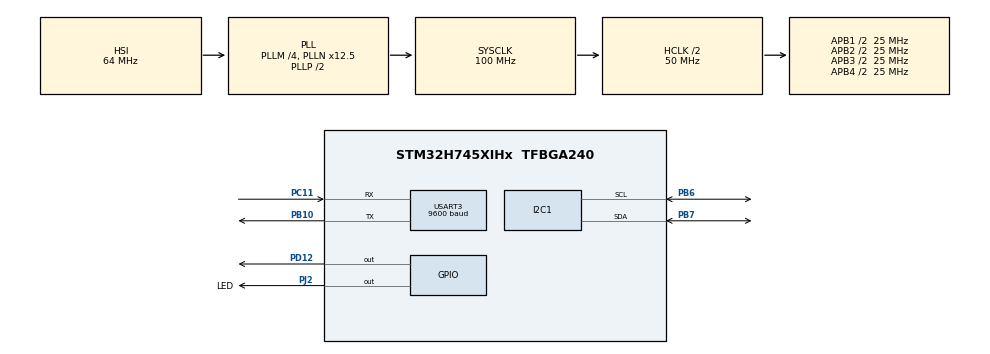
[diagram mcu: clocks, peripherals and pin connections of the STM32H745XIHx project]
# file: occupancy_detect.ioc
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CORTEX_M7.CPU_DCache=Enabled
CORTEX_M7.CPU_ICache=Enabled
CortexM4.IPs=FATFS_M4\:I,FREERTOS_M4\:I,IWDG2\:I,RCC,USB_DEVICE_M4\:I,USB_HOST_M4\:I,WWDG2\:I,DMA,BDMA,MDMA,NVIC2\:I,ETH\:I,FDCAN1\:I,FDCAN2\:I,FMC\:I,QUADSPI\:I,SAI2\:I,SDMMC1\:I,LTDC\:I,USB_OTG_FS\:I,SAI4\:I,DEBUG,PDM2PCM_M4\:I,PWR,RESMGR_UTILITY,SYS_M4\:I,CORTEX_M4\:I,OPENAMP_M4\:I,VREFBUF,GPIO
CortexM7.IPs=FATFS_M7\:I,FREERTOS_M7\:I,IWDG1\:I,RCC\:I,USB_DEVICE_M7\:I,USB_HOST_M7\:I,WWDG1\:I,DMA\:I,BDMA\:I,MDMA\:I,NVIC1\:I,CORTEX_M7\:I,DEBUG\:I,PDM2PCM_M7\:I,PWR\:I,RESMGR_UTILITY\:I,SYS\:I,OPENAMP_M7\:I,VREFBUF\:I,GPIO\:I,RTC\:I,I2C1\:I,USART3\:I,STMicroelectronics.X-CUBE-AI.9.0.0_M7\:I
CortexM7.Pins=PD12,PJ2
I2C1.Speed=50
I2C1.Timing=0x103032C3
Mcu.Family=STM32H7
Mcu.Name=STM32H745XIHx
Mcu.Package=TFBGA240
NVIC1.I2C1_EV_IRQn=true\:0\:0\:false\:false\:true\:true\:true\:true
NVIC1.PriorityGroup=NVIC_PRIORITYGROUP_4
NVIC1.USART3_IRQn=true\:0\:0\:false\:false\:true\:true\:true\:true
NVIC2.PriorityGroup=NVIC_PRIORITYGROUP_4
PB10.Mode=Asynchronous
PB10.PinAttribute=CortexM7
PB10.Signal=USART3_TX
PB6.Mode=I2C
PB6.PinAttribute=CortexM7
PB6.Signal=I2C1_SCL
PB7.Mode=I2C
PB7.PinAttribute=CortexM7
PB7.Signal=I2C1_SDA
PC11.Mode=Asynchronous
PC11.PinAttribute=CortexM7
PC11.Signal=USART3_RX
PC14-OSC32_IN\ (OSC32_IN).Mode=LSE-External-Oscillator
PC14-OSC32_IN\ (OSC32_IN).PinAttribute=Free
PC14-OSC32_IN\ (OSC32_IN).Signal=RCC_OSC32_IN
PC15-OSC32_OUT\ (OSC32_OUT).Mode=LSE-External-Oscillator
PC15-OSC32_OUT\ (OSC32_OUT).PinAttribute=Free
PC15-OSC32_OUT\ (OSC32_OUT).Signal=RCC_OSC32_OUT
PD12.PinAttribute=CortexM7
PD12.Signal=GPIO_Output
PH0-OSC_IN\ (PH0).Mode=HSE-External-Oscillator
PH0-OSC_IN\ (PH0).PinAttribute=Free
PH0-OSC_IN\ (PH0).Signal=RCC_OSC_IN
PH1-OSC_OUT\ (PH1).Mode=HSE-External-Oscillator
PH1-OSC_OUT\ (PH1).PinAttribute=Free
PH1-OSC_OUT\ (PH1).Signal=RCC_OSC_OUT
PJ2.GPIO_Label=LED
PJ2.PinAttribute=CortexM7
PJ2.Signal=GPIO_Output
ProjectManager.HeapSize=M4-0x200,M7-0x800
ProjectManager.StackSize=M4-0x400,M7-0x800
ProjectManager.TargetToolchain=STM32CubeIDE
RCC.ADCFreq_Value=129000000
RCC.APB1Freq_Value=25000000
RCC.APB2Freq_Value=25000000
RCC.APB3Freq_Value=25000000
RCC.APB4Freq_Value=25000000
RCC.CortexFreq_Value=100000000
RCC.D1PPRE=RCC_APB3_DIV2
RCC.D2PPRE1=RCC_APB1_DIV2
RCC.D2PPRE2=RCC_APB2_DIV2
RCC.D3PPRE=RCC_APB4_DIV2
RCC.DIVM1=4
RCC.DIVN1=12
RCC.DIVN3=192
RCC.DIVQ1=4
RCC.DIVR1=4
RCC.HCLKFreq_Value=50000000
RCC.HPRE=RCC_HCLK_DIV2
RCC.PLL2FRACN=0
RCC.PLL3FRACN=0
RCC.PLLFRACN=4096
RCC.PWR_Regulator_Voltage_Scale=PWR_REGULATOR_VOLTAGE_SCALE1
RCC.SYSCLKFreq_VALUE=100000000
RCC.SYSCLKSource=RCC_SYSCLKSOURCE_PLLCLK
RCC.SupplySource=PWR_DIRECT_SMPS_SUPPLY
RCC.USBFreq_Value=50000000
RTC.Date=23
RTC.Hours=13
RTC.Minutes=20
RTC.Month=RTC_MONTH_JULY
RTC.WeekDay=RTC_WEEKDAY_TUESDAY
RTC.Year=24
STMicroelectronics.X-CUBE-AI.9.0.0_M7.ActivationBufferSizeList=2368
STMicroelectronics.X-CUBE-AI.9.0.0_M7.ActivationBuffers=pool0
STMicroelectronics.X-CUBE-AI.9.0.0_M7.ActivationNames=pool0
STMicroelectronics.X-CUBE-AI.9.0.0_M7.ActivationSizes=AI_NETWORK_DATA_ACTIVATION_1_SIZE
STMicroelectronics.X-CUBE-AI.9.0.0_M7.HeapSize=0x800
STMicroelectronics.X-CUBE-AI.9.0.0_M7.InternalRamActivationBufferMaxSize=AI_NETWORK_DATA_ACTIVATIONS_SIZE
STMicroelectronics.X-CUBE-AI.9.0.0_M7.LatestDirectoryUsed-ca83c1b4b409163c8347068a0e6c25f1ef8d8a2a9e32e6388544d91a93ea900b=C\:\\Users\\Guest2\\Documents\\AI\\deploy\\augmented_tera_x4_no_time_boosted
STMicroelectronics.X-CUBE-AI.9.0.0_M7.MaximumNumberOfInputLayer=1
STMicroelectronics.X-CUBE-AI.9.0.0_M7.MaximumNumberOfOutputLayer=1
STMicroelectronics.X-CUBE-AI.9.0.0_M7.MaximumSizeOfInputLayer=1
STMicroelectronics.X-CUBE-AI.9.0.0_M7.MaximumSizeOfOutputLayer=1
STMicroelectronics.X-CUBE-AI.9.0.0_M7.ModelActualCompression-ca83c1b4b409163c8347068a0e6c25f1ef8d8a2a9e32e6388544d91a93ea900b=0.0
STMicroelectronics.X-CUBE-AI.9.0.0_M7.ModelCompression-ca83c1b4b409163c8347068a0e6c25f1ef8d8a2a9e32e6388544d91a93ea900b=None
STMicroelectronics.X-CUBE-AI.9.0.0_M7.ModelFlashOccupation-ca83c1b4b409163c8347068a0e6c25f1ef8d8a2a9e32e6388544d91a93ea900b=22420
STMicroelectronics.X-CUBE-AI.9.0.0_M7.ModelHashList=ca83c1b4b409163c8347068a0e6c25f1ef8d8a2a9e32e6388544d91a93ea900b
STMicroelectronics.X-CUBE-AI.9.0.0_M7.ModelKind-ca83c1b4b409163c8347068a0e6c25f1ef8d8a2a9e32e6388544d91a93ea900b=KERAS
STMicroelectronics.X-CUBE-AI.9.0.0_M7.ModelMacc-ca83c1b4b409163c8347068a0e6c25f1ef8d8a2a9e32e6388544d91a93ea900b=3371
STMicroelectronics.X-CUBE-AI.9.0.0_M7.ModelName-ca83c1b4b409163c8347068a0e6c25f1ef8d8a2a9e32e6388544d91a93ea900b=network
STMicroelectronics.X-CUBE-AI.9.0.0_M7.ModelNameList=network
STMicroelectronics.X-CUBE-AI.9.0.0_M7.ModelRamOccupation-ca83c1b4b409163c8347068a0e6c25f1ef8d8a2a9e32e6388544d91a93ea900b=2368
STMicroelectronics.X-CUBE-AI.9.0.0_M7.ModelStructureFile-ca83c1b4b409163c8347068a0e6c25f1ef8d8a2a9e32e6388544d91a93ea900b=C\:\\Users\\Guest2\\Documents\\AI\\deploy\\augmented_tera_x4_no_time_boosted\\best_augmented_tera_x4_no_time_boosted_model.h5
STMicroelectronics.X-CUBE-AI.9.0.0_M7.ModelType-ca83c1b4b409163c8347068a0e6c25f1ef8d8a2a9e32e6388544d91a93ea900b=STM32Cube.AI MCU runtime
STMicroelectronics.X-CUBE-AI.9.0.0_M7.ReadyForCodeGeneration=true
STMicroelectronics.X-CUBE-AI.9.0.0_M7.StackSize=0x800
STMicroelectronics.X-CUBE-AI.9.0.0_M7.ValidationInputFile-ca83c1b4b409163c8347068a0e6c25f1ef8d8a2a9e32e6388544d91a93ea900b=C\:\\Users\\Guest2\\Documents\\AI\\deploy\\augmented_tera_x4_acceleration_boosted\\test_augmented_tera_x4_acceleration_boosted_input.csv
STMicroelectronics.X-CUBE-AI.9.0.0_M7.ValidationInputFileHistory-ca83c1b4b409163c8347068a0e6c25f1ef8d8a2a9e32e6388544d91a93ea900b=C\:\\Users\\Guest2\\Documents\\AI\\deploy\\augmented_tera\\test_augmented_scaled_tera_input.csv,C\:\\Users\\Guest2\\Documents\\AI\\deploy\\augmented_tera_x4\\test_augmented_x4_scaled_tera_input.csv,C\:\\Users\\Guest2\\Documents\\AI\\deploy\\augmented_tera_x4\\test_augmented_x4_scaled_tera_input.csv,C\:\\Users\\Guest2\\Documents\\AI\\deploy\\augmented_tera_x4_no_time\\test_augmented_x4_scaled_tera_no_time_input.csv,C\:\\Users\\Guest2\\Documents\\AI\\deploy\\augmented_tera_x4_no_time_boosted\\test_augmented_x4_scaled_tera_no_time_input.csv,C\:\\Users\\Guest2\\Documents\\AI\\deploy\\augmented_tera_x4_acceleration_boosted\\test_augmented_tera_x4_acceleration_boosted_input.csv,C\:\\Users\\Guest2\\Documents\\AI\\deploy\\tera_acceleration_boosted\\test_tera_acceleration_boosted_input.csv
STMicroelectronics.X-CUBE-AI.9.0.0_M7.ValidationOutputFile-ca83c1b4b409163c8347068a0e6c25f1ef8d8a2a9e32e6388544d91a93ea900b=C\:\\Users\\Guest2\\Documents\\AI\\deploy\\augmented_tera_x4_acceleration_boosted\\test_augmented_tera_x4_acceleration_boosted_target.csv
STMicroelectronics.X-CUBE-AI.9.0.0_M7.ValidationOutputFileHistory-ca83c1b4b409163c8347068a0e6c25f1ef8d8a2a9e32e6388544d91a93ea900b=C\:\\Users\\Guest2\\Documents\\AI\\deploy\\augmented_tera\\test_augmented_scaled_tera_target.csv,C\:\\Users\\Guest2\\Documents\\AI\\deploy\\augmented_tera_x4\\test_augmented_x4_scaled_tera_target.csv,C\:\\Users\\Guest2\\Documents\\AI\\deploy\\augmented_tera_x4\\test_augmented_x4_scaled_tera_target.csv,C\:\\Users\\Guest2\\Documents\\AI\\deploy\\augmented_tera_x4_no_time\\test_augmented_x4_scaled_tera_no_time_target.csv,C\:\\Users\\Guest2\\Documents\\AI\\deploy\\augmented_tera_x4_no_time_boosted\\test_augmented_x4_scaled_tera_no_time_target.csv,C\:\\Users\\Guest2\\Documents\\AI\\deploy\\augmented_tera_x4_acceleration_boosted\\test_augmented_tera_x4_acceleration_boosted_target.csv,C\:\\Users\\Guest2\\Documents\\AI\\deploy\\tera_acceleration_boosted\\test_tera_acceleration_boosted_target.csv
STMicroelectronics.X-CUBE-AI.9.0.0_M7.WorkingBufferStartAddrList=0xFFFFFFFF
STMicroelectronics.X-CUBE-AI.9.0.0_M7.XAaCUBEAaAICcArtificialOoIntelligenceJjCore=true
STMicroelectronics.X-CUBE-AI.9.0.0_M7.copyWeightToRam=false
STMicroelectronics.X-CUBE-AI.9.0.0_M7.copyWeightToRam-ca83c1b4b409163c8347068a0e6c25f1ef8d8a2a9e32e6388544d91a93ea900b=false
STMicroelectronics.X-CUBE-AI.9.0.0_M7.customLayerConfigEnabled=false
STMicroelectronics.X-CUBE-AI.9.0.0_M7.customLayerConfigEnabled-ca83c1b4b409163c8347068a0e6c25f1ef8d8a2a9e32e6388544d91a93ea900b=false
STMicroelectronics.X-CUBE-AI.9.0.0_M7.noOnnxIoTranspose=false
STMicroelectronics.X-CUBE-AI.9.0.0_M7.noOnnxIoTranspose-ca83c1b4b409163c8347068a0e6c25f1ef8d8a2a9e32e6388544d91a93ea900b=false
STMicroelectronics.X-CUBE-AI.9.0.0_M7.useInputAllocation=true
STMicroelectronics.X-CUBE-AI.9.0.0_M7.useInputAllocation-ca83c1b4b409163c8347068a0e6c25f1ef8d8a2a9e32e6388544d91a93ea900b=true
STMicroelectronics.X-CUBE-AI.9.0.0_M7.useOutputAllocation=true
STMicroelectronics.X-CUBE-AI.9.0.0_M7.useOutputAllocation-ca83c1b4b409163c8347068a0e6c25f1ef8d8a2a9e32e6388544d91a93ea900b=true
USART3.BaudRate=9600
USART3.FIFOMode=FIFOMODE_ENABLE
USART3.Parity=PARITY_NONE
USART3.RXFIFOThreshold=RXFIFO_THRESHOLD_1QUARTERFULL
USART3.VirtualMode-Asynchronous=VM_ASYNC
USART3.WordLength=WORDLENGTH_8B
VP_RTC_VS_RTC_Activate.Mode=RTC_Enabled
VP_RTC_VS_RTC_Calendar.Mode=RTC_Calendar
VP_STMicroelectronics.X-CUBE-AI_M7_VS_ArtificialOoIntelligenceJjXAaCUBEAaAI_9.0.0.Mode=ArtificialOoIntelligenceJjXAaCUBEAaAI
VP_SYS_M4_VS_Systick.Mode=SysTick
board=STM32H745I-DISCO

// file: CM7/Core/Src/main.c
/* USER CODE BEGIN Header */
/**
  ******************************************************************************
  * @file           : main.c
  * @brief          : Main program body
  ******************************************************************************
  * @attention
  *
  * Copyright (c) 2024 STMicroelectronics.
  * All rights reserved.
  *
  * This software is licensed under terms that can be found in the LICENSE file
  * in the root directory of this software component.
  * If no LICENSE file comes with this software, it is provided AS-IS.
  *
  ******************************************************************************
  */
/* USER CODE END Header */
#include "main.h"

/* USER CODE BEGIN Includes */
#include "network.h"
#include "network_data.h"
/* USER CODE END Includes */

/* USER CODE BEGIN PD */

#ifndef HSEM_ID_0
#define HSEM_ID_0 (0U) /* HW semaphore 0*/
#endif

#define INTERVAL_IN_SECONDS 10 	//measurements interval
#define FLOOR_AREA 10 			//floor area of measured room
#define ROOM_NUMBER 0
#define OCCUPANCY 0
#define DISPLAY_LENGTH 190
#define WINDOW_SIZE 4

/* uncomment if you want to generate your own fake data as input */
//#define FAKE_DATA
/* uncomment if you are using time features in your model */
//#define TIME_FEATURES
/* uncomment if you are using acceleration features in your model */
//#define ACCELERATION_FEATURES

/* USER CODE END PD */

I2C_HandleTypeDef hi2c1;

RTC_HandleTypeDef hrtc;

UART_HandleTypeDef huart3;

/* USER CODE BEGIN PV */
SensorData data = {0};

const char SCD30_INIT[] = "\r\n***  SCD30 Initialized ***\r\n";
const char READY_TIMEOUT[] = "\r\nTimeout waiting for data_ready flag\r\n";
const char MEASURE_ERROR[] = "\r\nerror reading measurement\r\n";
const char OFFICE[] = "Please type the office number: ";
const char OCCUPANTS[] = "Please type the number of occupants\r\n";
const char UART_ERROR[] = "UART failure\r\n";
const char UART_OK[] = "\r\nUART_OKAY\r\n";
//const char COLUMNS[] = "\r\ndatetime,temperature,humidity,co2_concentration,average_co2_last_hour,average_temperature_last_hour,average_humidity_last_hour,current_value_minus_average_last_hour_co2,current_value_minus_average_last_hour_temperature,current_value_minus_average_last_hour_humidity,current_value_minus_last_15_min_co2,current_value_minus_last_15_min_temperature,current_value_minus_last_15_min_humidity,acceleration_co2,acceleration_temperature,acceleration_humidity,occupancy";
const char COLUMNS[] = "\r\ndatetime	  	   CO2		    Temperature  		Humidity";
const char AI_INIT[] = "\r\n***** AI Initialized *****\r\n";

uint8_t RxBuffer[4];
/* Global handle to reference the instantiated C-model */
static ai_handle network = AI_HANDLE_NULL;

/* Global c-array to handle the activations buffer */
AI_ALIGNED(32)
static ai_u8 activations[AI_NETWORK_DATA_ACTIVATIONS_SIZE];

/* Array to store the data of the input tensor */
AI_ALIGNED(32)
static ai_float in_data[AI_NETWORK_IN_1_SIZE];
/* or static ai_u8 in_data[AI_NETWORK_IN_1_SIZE_BYTES]; */

/* c-array to store the data of the output tensor */
AI_ALIGNED(32)
static ai_float out_data[AI_NETWORK_OUT_1_SIZE];
/* static ai_u8 out_data[AI_NETWORK_OUT_1_SIZE_BYTES]; */

/* Array of pointer to manage the model's input/output tensors */
static ai_buffer *ai_input;
static ai_buffer *ai_output;
/* USER CODE END PV */

void SystemClock_Config(void);
static void MX_GPIO_Init(void);
static void MX_I2C1_Init(void);
static void MX_RTC_Init(void);
static void MX_USART3_UART_Init(void);
/* USER CODE BEGIN PFP */
#define PUTCHAR_PROTOTYPE int __io_putchar(int ch)

/* USER CODE END PFP */

int main(void)
{

  /* USER CODE BEGIN 1 */
	char buf[50];
	int buf_len = 0;
  /* USER CODE END 1 */
/* USER CODE BEGIN Boot_Mode_Sequence_0 */
	int32_t timeout;
/* USER CODE END Boot_Mode_Sequence_0 */

  /* Enable the CPU Cache */

  /* Enable I-Cache---------------------------------------------------------*/
  SCB_EnableICache();

  /* Enable D-Cache---------------------------------------------------------*/
  SCB_EnableDCache();

/* USER CODE BEGIN Boot_Mode_Sequence_1 */
  /* Wait until CPU2 boots and enters in stop mode or timeout*/
  /*timeout = 0xFFFF;
  while((__HAL_RCC_GET_FLAG(RCC_FLAG_D2CKRDY) != RESET) && (timeout-- > 0));
  if ( timeout < 0 )
  {
	  Error_Handler();
  }*/
/* USER CODE END Boot_Mode_Sequence_1 */
  /* MCU Configuration--------------------------------------------------------*/

  /* Reset of all peripherals, Initializes the Flash interface and the Systick. */
  HAL_Init();

  /* USER CODE BEGIN Init */

  // Enable global interrupts
	__enable_irq();
  /* USER CODE END Init */

  /* Configure the system clock */
  SystemClock_Config();
/* USER CODE BEGIN Boot_Mode_Sequence_2 */
/* When system initialization is finished, Cortex-M7 will release Cortex-M4 by means of
HSEM notification */
/*HW semaphore Clock enable*/
	__HAL_RCC_HSEM_CLK_ENABLE();
/*Take HSEM */
	HAL_HSEM_FastTake(HSEM_ID_0);
/*Release HSEM in order to notify the CPU2(CM4)*/
	HAL_HSEM_Release(HSEM_ID_0,0);
/* wait until CPU2 wakes up from stop mode */
	timeout = 0xFFFF;
	while((__HAL_RCC_GET_FLAG(RCC_FLAG_D2CKRDY) == RESET) && (timeout-- > 0));
	if ( timeout < 0 )
	{
		Error_Handler();
	}
/* USER CODE END Boot_Mode_Sequence_2 */

  /* Initialize all configured peripherals */
  MX_GPIO_Init();
  MX_I2C1_Init();
  MX_RTC_Init();
  MX_USART3_UART_Init();
  /* USER CODE BEGIN 2 */

	// Initialize the Neural Network
	AI_Init();

	initialize_sensor_data(&data);

	char occupancy[5];
	float prediction;
	float decision_boundary = 0.5;// DECISION_BOUNDARY;
	int16_t err;
	uint8_t first_line = 1;

	Sensor_Init(&hi2c1, INTERVAL_IN_SECONDS, 20000u);

  /* USER CODE END 2 */

  /* Infinite loop */
	while (1)
	{

    /* USER CODE BEGIN 3 */
		uint16_t data_ready = is_data_ready(&hi2c1, &huart3, INTERVAL_IN_SECONDS);
		if (!data_ready) {
    	  /* Timeout waiting for data_ready flag */
			printf(READY_TIMEOUT);
			continue;
		}
		/* read measurements */
		err = populateSensorData(&data, &hi2c1, &hrtc);

		if (err != NO_ERROR) {
		  /* error reading measurement */
			printf(MEASURE_ERROR);
		} else {
			if (first_line) {
				// Print columns (measured features)
				printf(COLUMNS);
				// Set the flag to indicate it's not the first line
				//first_line = 0;
			}
			print_values(&data);
		}

#ifdef FAKE_DATA
		AI_FAKE_fill_input_buffer(&data, in_data);

#else
		AI_fill_input_buffer(&data, in_data);
#endif
		// Run inference
		HAL_GPIO_TogglePin(GPIOD, GPIO_PIN_12);
		AI_Run(in_data, out_data);
		HAL_GPIO_TogglePin(GPIOD, GPIO_PIN_12); // To measure inference time

		// Read prediction of neural network
		prediction = ((float *)out_data)[0];
		if (prediction > decision_boundary) {
			sprintf(occupancy, "yes");
		} else {
			sprintf(occupancy, "no ");
		}
		// Print output of neural network
		buf_len = sprintf(buf, "\r\nOccupancy? %s \r\n\r\nCertitude: %.1f%%\r\n\r\n\r\n",occupancy, prediction*100);
		HAL_UART_Transmit(&huart3, (uint8_t *)buf, buf_len, 100);

  }
  /* USER CODE END 3 */
}

void SystemClock_Config(void)
{
  RCC_OscInitTypeDef RCC_OscInitStruct = {0};
  RCC_ClkInitTypeDef RCC_ClkInitStruct = {0};

  /** Supply configuration update enable
  */
  HAL_PWREx_ConfigSupply(PWR_DIRECT_SMPS_SUPPLY);

  /** Configure the main internal regulator output voltage
  */
  __HAL_PWR_VOLTAGESCALING_CONFIG(PWR_REGULATOR_VOLTAGE_SCALE1);

  while(!__HAL_PWR_GET_FLAG(PWR_FLAG_VOSRDY)) {}

  /** Initializes the RCC Oscillators according to the specified parameters
  * in the RCC_OscInitTypeDef structure.
  */
  RCC_OscInitStruct.OscillatorType = RCC_OSCILLATORTYPE_HSI|RCC_OSCILLATORTYPE_LSI;
  RCC_OscInitStruct.HSIState = RCC_HSI_DIV1;
  RCC_OscInitStruct.HSICalibrationValue = RCC_HSICALIBRATION_DEFAULT;
  RCC_OscInitStruct.LSIState = RCC_LSI_ON;
  RCC_OscInitStruct.PLL.PLLState = RCC_PLL_ON;
  RCC_OscInitStruct.PLL.PLLSource = RCC_PLLSOURCE_HSI;
  RCC_OscInitStruct.PLL.PLLM = 4;
  RCC_OscInitStruct.PLL.PLLN = 12;
  RCC_OscInitStruct.PLL.PLLP = 2;
  RCC_OscInitStruct.PLL.PLLQ = 4;
  RCC_OscInitStruct.PLL.PLLR = 4;
  RCC_OscInitStruct.PLL.PLLRGE = RCC_PLL1VCIRANGE_3;
  RCC_OscInitStruct.PLL.PLLVCOSEL = RCC_PLL1VCOWIDE;
  RCC_OscInitStruct.PLL.PLLFRACN = 4096;
  if (HAL_RCC_OscConfig(&RCC_OscInitStruct) != HAL_OK)
  {
    Error_Handler();
  }

  /** Initializes the CPU, AHB and APB buses clocks
  */
  RCC_ClkInitStruct.ClockType = RCC_CLOCKTYPE_HCLK|RCC_CLOCKTYPE_SYSCLK
                              |RCC_CLOCKTYPE_PCLK1|RCC_CLOCKTYPE_PCLK2
                              |RCC_CLOCKTYPE_D3PCLK1|RCC_CLOCKTYPE_D1PCLK1;
  RCC_ClkInitStruct.SYSCLKSource = RCC_SYSCLKSOURCE_PLLCLK;
  RCC_ClkInitStruct.SYSCLKDivider = RCC_SYSCLK_DIV1;
  RCC_ClkInitStruct.AHBCLKDivider = RCC_HCLK_DIV2;
  RCC_ClkInitStruct.APB3CLKDivider = RCC_APB3_DIV2;
  RCC_ClkInitStruct.APB1CLKDivider = RCC_APB1_DIV2;
  RCC_ClkInitStruct.APB2CLKDivider = RCC_APB2_DIV2;
  RCC_ClkInitStruct.APB4CLKDivider = RCC_APB4_DIV2;

  if (HAL_RCC_ClockConfig(&RCC_ClkInitStruct, FLASH_LATENCY_0) != HAL_OK)
  {
    Error_Handler();
  }
}

static void MX_I2C1_Init(void)
{

  hi2c1.Instance = I2C1;
  hi2c1.Init.Timing = 0x103032C3;
  hi2c1.Init.OwnAddress1 = 0;
  hi2c1.Init.AddressingMode = I2C_ADDRESSINGMODE_7BIT;
  hi2c1.Init.DualAddressMode = I2C_DUALADDRESS_DISABLE;
  hi2c1.Init.OwnAddress2 = 0;
  hi2c1.Init.OwnAddress2Masks = I2C_OA2_NOMASK;
  hi2c1.Init.GeneralCallMode = I2C_GENERALCALL_DISABLE;
  hi2c1.Init.NoStretchMode = I2C_NOSTRETCH_DISABLE;
  if (HAL_I2C_Init(&hi2c1) != HAL_OK)
  {
    Error_Handler();
  }

  /** Configure Analogue filter
  */
  if (HAL_I2CEx_ConfigAnalogFilter(&hi2c1, I2C_ANALOGFILTER_ENABLE) != HAL_OK)
  {
    Error_Handler();
  }

  /** Configure Digital filter
  */
  if (HAL_I2CEx_ConfigDigitalFilter(&hi2c1, 0) != HAL_OK)
  {
    Error_Handler();
  }

}

static void MX_RTC_Init(void)
{

  RTC_TimeTypeDef sTime = {0};
  RTC_DateTypeDef sDate = {0};

  /** Initialize RTC Only
  */
  hrtc.Instance = RTC;
  hrtc.Init.HourFormat = RTC_HOURFORMAT_24;
  hrtc.Init.AsynchPrediv = 127;
  hrtc.Init.SynchPrediv = 255;
  hrtc.Init.OutPut = RTC_OUTPUT_DISABLE;
  hrtc.Init.OutPutPolarity = RTC_OUTPUT_POLARITY_HIGH;
  hrtc.Init.OutPutType = RTC_OUTPUT_TYPE_OPENDRAIN;
  hrtc.Init.OutPutRemap = RTC_OUTPUT_REMAP_NONE;
  if (HAL_RTC_Init(&hrtc) != HAL_OK)
  {
    Error_Handler();
  }

  /** Initialize RTC and set the Time and Date
  */
  sTime.Hours = 0x12;
  sTime.Minutes = 0x00;
  sTime.Seconds = 0x0;
  sTime.DayLightSaving = RTC_DAYLIGHTSAVING_NONE;
  sTime.StoreOperation = RTC_STOREOPERATION_RESET;
  if (HAL_RTC_SetTime(&hrtc, &sTime, RTC_FORMAT_BCD) != HAL_OK)
  {
    Error_Handler();
  }
  sDate.WeekDay = RTC_WEEKDAY_FRIDAY;
  sDate.Month = RTC_MONTH_AUGUST;
  sDate.Date = 0x02;
  sDate.Year = 0x24;

  if (HAL_RTC_SetDate(&hrtc, &sDate, RTC_FORMAT_BCD) != HAL_OK)
  {
    Error_Handler();
  }

}

static void MX_USART3_UART_Init(void)
{

  huart3.Instance = USART3;
  huart3.Init.BaudRate = 9600;
  huart3.Init.WordLength = UART_WORDLENGTH_8B;
  huart3.Init.StopBits = UART_STOPBITS_1;
  huart3.Init.Parity = UART_PARITY_NONE;
  huart3.Init.Mode = UART_MODE_TX_RX;
  huart3.Init.HwFlowCtl = UART_HWCONTROL_NONE;
  huart3.Init.OverSampling = UART_OVERSAMPLING_16;
  huart3.Init.OneBitSampling = UART_ONE_BIT_SAMPLE_DISABLE;
  huart3.Init.ClockPrescaler = UART_PRESCALER_DIV1;
  huart3.AdvancedInit.AdvFeatureInit = UART_ADVFEATURE_NO_INIT;
  if (HAL_UART_Init(&huart3) != HAL_OK)
  {
    Error_Handler();
  }
  if (HAL_UARTEx_SetTxFifoThreshold(&huart3, UART_TXFIFO_THRESHOLD_1_8) != HAL_OK)
  {
    Error_Handler();
  }
  if (HAL_UARTEx_SetRxFifoThreshold(&huart3, UART_RXFIFO_THRESHOLD_1_4) != HAL_OK)
  {
    Error_Handler();
  }
  if (HAL_UARTEx_EnableFifoMode(&huart3) != HAL_OK)
  {
    Error_Handler();
  }
  /* USER CODE BEGIN USART3_Init 2 */
  HAL_NVIC_SetPriority(USART3_IRQn, 4, 0);
  HAL_NVIC_EnableIRQ(USART3_IRQn);

  /* Enable the UART RX FIFO full interrupt */
  __HAL_UART_ENABLE_IT(&huart3, UART_IT_RXFF);
  HAL_UART_Receive_IT(&huart3, (uint8_t*)&RxBuffer, 1);

  //HAL_UART_Receive_IT(&huart3, &data.occupancy, 1);
  /* USER CODE END USART3_Init 2 */

}

static void MX_GPIO_Init(void)
{
  GPIO_InitTypeDef GPIO_InitStruct = {0};

  /* GPIO Ports Clock Enable */
  __HAL_RCC_GPIOB_CLK_ENABLE();
  __HAL_RCC_GPIOC_CLK_ENABLE();
  __HAL_RCC_GPIOD_CLK_ENABLE();
  __HAL_RCC_GPIOJ_CLK_ENABLE();

  /*Configure GPIO pin Output Level */
  HAL_GPIO_WritePin(GPIOD, GPIO_PIN_12, GPIO_PIN_RESET);

  /*Configure GPIO pin Output Level */
  HAL_GPIO_WritePin(LED_GPIO_Port, LED_Pin, GPIO_PIN_RESET);

  /*Configure GPIO pin : PD12 */
  GPIO_InitStruct.Pin = GPIO_PIN_12;
  GPIO_InitStruct.Mode = GPIO_MODE_OUTPUT_PP;
  GPIO_InitStruct.Pull = GPIO_NOPULL;
  GPIO_InitStruct.Speed = GPIO_SPEED_FREQ_LOW;
  HAL_GPIO_Init(GPIOD, &GPIO_InitStruct);

  /*Configure GPIO pin : LED_Pin */
  GPIO_InitStruct.Pin = LED_Pin;
  GPIO_InitStruct.Mode = GPIO_MODE_OUTPUT_PP;
  GPIO_InitStruct.Pull = GPIO_NOPULL;
  GPIO_InitStruct.Speed = GPIO_SPEED_FREQ_LOW;
  HAL_GPIO_Init(LED_GPIO_Port, &GPIO_InitStruct);

}

/* USER CODE BEGIN 4 */

/**
  * @brief  Retargets the C library printf function to the USART.
  *   None
  * @retval None
  */
PUTCHAR_PROTOTYPE
{
	if(HAL_UART_Transmit(&huart3, (uint8_t *)&ch, 1, 0xFFFF) != HAL_OK)
		Error_Handler();
	return ch;
}
/**
  * @brief Initializes sensor data structure
  * @param data Pointer to SensorData structure
  * @retval None
  */
void initialize_sensor_data(SensorData *data)
{
    // Initialize datetime
    data->datetime = "";

    // Initialize sensor values
    data->co2_concentration = 0.0;
    data->temperature = 0.0;
    data->humidity = 0.0;

    // Initialize average values
    data->average_co2_last_hour = 0.0;
    data->average_temperature_last_hour = 0.0;
    data->average_humidity_last_hour = 0.0;

    // Initialize difference from average values
    data->current_value_minus_average_last_hour_co2 = 0.0;
    data->current_value_minus_average_last_hour_temperature = 0.0;
    data->current_value_minus_average_last_hour_humidity = 0.0;

    // Initialize difference from last 15 minutes
    data->current_value_minus_last_15_min_co2 = 0.0;
    data->current_value_minus_last_15_min_temperature = 0.0;
    data->current_value_minus_last_15_min_humidity = 0.0;

    // Initialize acceleration
    data->acceleration_co2 = 0.0;
    data->acceleration_temperature = 0.0;
    data->acceleration_humidity = 0.0;

    // Initialize occupancy and buffer count
    data->occupancy = 0;
    data->buffer_count = 0;
}

/**
  * @brief Update rolling averages
  * @param data Pointer to SensorData structure
  * @param new_co2 New CO2 concentration value
  * @param new_temperature New temperature value
  * @param new_humidity New humidity value
  * @retval None
  */
void update_rolling_averages(SensorData *data, float new_co2, float new_temperature, float new_humidity)
{
    static float co2_window[WINDOW_SIZE] = {0.0};
    static float temp_window[WINDOW_SIZE] = {0.0};
    static float hum_window[WINDOW_SIZE] = {0.0};
    static int index = 0;

    // Update averages only if there are enough elements in the buffer
    if (data->buffer_count == WINDOW_SIZE) {
        // Update averages
        float sum_co2 = 0.0, sum_temp = 0.0, sum_hum = 0.0;
        for (int i = 0; i < WINDOW_SIZE; ++i) {
            sum_co2 += co2_window[i];
            sum_temp += temp_window[i];
            sum_hum += hum_window[i];
        }

        data->average_co2_last_hour = sum_co2 / WINDOW_SIZE;
        data->average_temperature_last_hour = sum_temp / WINDOW_SIZE;
        data->average_humidity_last_hour = sum_hum / WINDOW_SIZE;

        // Update other features
        data->current_value_minus_average_last_hour_co2 = data->co2_concentration - data->average_co2_last_hour;
        data->current_value_minus_average_last_hour_temperature = data->temperature - data->average_temperature_last_hour;
        data->current_value_minus_average_last_hour_humidity = data->humidity - data->average_humidity_last_hour;
    } else {
        // If there aren't enough elements, initialize averages to current values
        data->average_co2_last_hour = new_co2;
        data->average_temperature_last_hour = new_temperature;
        data->average_humidity_last_hour = new_humidity;

        // Set other features to zero or default values
        data->current_value_minus_average_last_hour_co2 = 0.0;
        data->current_value_minus_average_last_hour_temperature = 0.0;
        data->current_value_minus_average_last_hour_humidity = 0.0;
    }
    // Increment buffer count if it's less than WINDOW_SIZE
    if (data->buffer_count < WINDOW_SIZE) {
        data->buffer_count++;
    }
    // Update the circular buffers
    co2_window[index] = new_co2;
    temp_window[index] = new_temperature;
    hum_window[index] = new_humidity;

    // Move to the next index (circular buffer)
    index = (index + 1) % WINDOW_SIZE;
}

/**
  * @brief Updates CO2, Temperature and Humidity accelerations in the SensorData structure
  * @param data Pointer to SensorData structure
  * @retval None
  */
void update_accelerations(SensorData *data, float old_co2_variation, float old_temperature_variation, float old_humidity_variation)
{
	// Update Accelerations
    data->acceleration_co2 =  data->current_value_minus_last_15_min_co2 - old_co2_variation;
    data->acceleration_temperature = data->current_value_minus_last_15_min_temperature - old_co2_variation;
    data->acceleration_humidity = data->current_value_minus_last_15_min_humidity - old_humidity_variation;
}

/**
  * @brief Update current values minus last measurement
  * @param data Pointer to SensorData structure
  * @param new_co2 New CO2 concentration value
  * @param new_temperature New temperature value
  * @param new_humidity New humidity value
  * @retval None
  */
void update_current_minus_last_measure(SensorData *data, float new_co2, float new_temperature, float new_humidity)
{
	float old_co2_variation = data->current_value_minus_last_15_min_co2;
	float old_temperature_variation = data->current_value_minus_last_15_min_temperature;
	float old_humidity_variation = data->current_value_minus_last_15_min_humidity;

	if (data->buffer_count > 1) {
		data->current_value_minus_last_15_min_co2 = new_co2 - data->co2_concentration;
	    data->current_value_minus_last_15_min_temperature = new_temperature - data->temperature;
	    data->current_value_minus_last_15_min_humidity = new_humidity - data->humidity;
	} else {
	    data->current_value_minus_last_15_min_co2 = 0.0;
	    data->current_value_minus_last_15_min_temperature = 0.0;
	    data->current_value_minus_last_15_min_humidity = 0.0;
	}

	update_accelerations(data, old_co2_variation, old_temperature_variation, old_humidity_variation);
}

/**
  * @brief Updates time-related features in the SensorData structure
  * @param data Pointer to SensorData structure
  * @param hrtc Pointer to RTC_HandleTypeDef structure
  * @retval None
  */
void update_time_features(SensorData *data, RTC_HandleTypeDef *hrtc)
{
    uint8_t datetime_length = 20;
    char datetime[datetime_length];

    RTC_TimeTypeDef time_struct;
    RTC_DateTypeDef date_struct;
    /* Get the RTC current Time and Date */
    HAL_RTC_GetTime(hrtc, &time_struct, RTC_FORMAT_BIN);
    HAL_RTC_GetDate(hrtc, &date_struct, RTC_FORMAT_BIN);

    // Format datetime as dd-mm-yy hh:mm
    snprintf(datetime, datetime_length, "%02d-%02d-%02d %02d:%02d",
    		date_struct.Date, date_struct.Month, date_struct.Year, time_struct.Hours, time_struct.Minutes);

    // Allocate memory for datetime string
    data->datetime = (char*)malloc(datetime_length * sizeof(char));
    if (data->datetime != NULL) {
    	strcpy(data->datetime, datetime);
    }

    // Update other time-related features
    data->datetime_length = datetime_length;
    data->hour_of_the_day = time_struct.Hours;
    data->day_number_of_the_week = getDayOfWeek(date_struct);
    data->day_of_year = getDayOfYear(date_struct);
}

/**
  * @brief Populates sensor data based on measurements and time information
  * @param data Pointer to SensorData structure
  * @param hi2c Pointer to I2C_HandleTypeDef structure
  * @param hrtc Pointer to RTC_HandleTypeDef structure
  * @retval Error code (uint8_t)
  */
uint8_t populateSensorData(SensorData *data,  I2C_HandleTypeDef* hi2c, RTC_HandleTypeDef *hrtc)
{
	float new_co2 = 0.0, new_temperature = 0.0, new_humidity = 0.0;

	// Measure CO2, Temperature and Humidity
	uint8_t err = scd30_read_measurement(&hi2c1, &new_co2, &new_temperature, &new_humidity);

	// Update averages, variations and accelerations
	update_rolling_averages(data, new_co2, new_temperature, new_humidity);
	update_current_minus_last_measure(data, new_co2, new_temperature, new_humidity);

	// Update current values
	data->co2_concentration = new_co2;
	data->temperature = new_temperature;
	data->humidity = new_humidity;

	// Update time features
	update_time_features(data, hrtc);

	// Update other features
	data->floor_area = FLOOR_AREA;
    data->room_number = ROOM_NUMBER;

    // Update target value
    data->occupancy = OCCUPANCY;

    return err;
}

/**
  * @brief Prints sensor data to UART
  * @param huart Pointer to UART_HandleTypeDef structure
  * @param data Pointer to SensorData structure
  * @retval None
  */
void print_values(SensorData* data)
{
	char display_str[DISPLAY_LENGTH] = ""; // formated string for measurements

    // Create a formatted string with sensor data
	/*snprintf(display_str, DISPLAY_LENGTH, "\r\n%s , %.1f , %.1f , %.1f , %.2f , %.2f , %.2f , %.2f , %.2f , %.2f , %.2f , %.2f , %.2f , %.2f , %.2f , %.2f , %d \r\n",
			data->datetime,data->co2_concentration, data->temperature,  data->humidity,
			data->average_co2_last_hour, data->average_temperature_last_hour, data->average_humidity_last_hour,
			data->current_value_minus_average_last_hour_co2, data->current_value_minus_average_last_hour_temperature, data->current_value_minus_average_last_hour_humidity,
			data->current_value_minus_last_15_min_co2, data->current_value_minus_last_15_min_temperature, data->current_value_minus_last_15_min_temperature, data->acceleration_co2,
			data->acceleration_temperature, data->acceleration_humidity,
		    data->occupancy);
*/
	snprintf(display_str, DISPLAY_LENGTH, "\r\n%s 		%.1fppm 		%.1fdeg 		%.1f %% \r\n",
				data->datetime,data->co2_concentration, data->temperature,  data->humidity);
	printf(display_str);
}

/**
  * @brief Initializes the sensor and configures the SCD30 sensor.
  * @param hi2c Pointer to I2C_HandleTypeDef structure
  * @param measurement_interval Measurement interval in seconds
  * @param sleep_usec Sleep time in microseconds
  * @retval None
  */
void Sensor_Init(I2C_HandleTypeDef* hi2c, const int measurement_interval, const int sleep_usec)
{
    // Check I2C probes
    scd30_check_probe(hi2c);

    // Set measurement interval
    scd30_set_measurement_interval(hi2c, measurement_interval);

    // Sleep for the specified time
    sensirion_sleep_usec(sleep_usec);

    // Start periodic measurement
    scd30_start_periodic_measurement(hi2c, 0);

    printf(SCD30_INIT);
}

/**
  * @brief Initializes a neural network model and retrieves input/output pointers
  * @retval ai_error structure indicating success or specific error
  */
ai_error AI_Init(void)
{
	ai_error err = {.type = AI_ERROR_NONE,
					.code = AI_ERROR_CODE_NONE};

	/* Create and initialize the c-model */
	const ai_handle acts[] = { activations };
	err = ai_network_create_and_init(&network, acts, NULL);

	/* Retrieve pointers to the model's input/output tensors */
	ai_input = ai_network_inputs_get(network, NULL);
	ai_output = ai_network_outputs_get(network, NULL);

	printf(AI_INIT);

	return err;
}

/**
  * @brief Performs inference using the neural network model
  * @param in_data Pointer to input data (void pointer)
  * @param out_data Pointer to output data (void pointer)
  * @retval ai_error structure indicating success or specific error
  */
ai_error AI_Run(const void *in_data, void *out_data)
{
	ai_i32 n_batch;
	ai_error err = {.type = AI_ERROR_NONE,
					.code = AI_ERROR_CODE_NONE};

	/* Update IO handlers with the data payload */
	ai_input[0].data = AI_HANDLE_PTR(in_data);
	ai_output[0].data = AI_HANDLE_PTR(out_data);

	/* Perform the inference */
	n_batch = ai_network_run(network, &ai_input[0], &ai_output[0]);
	if (n_batch != 1) {
		err = ai_network_get_error(network);
	}

	return err;
}

/**
  * @brief Fills the input buffer with scaled sensor data
  * @param data Pointer to SensorData structure
  * @param in_data Pointer to the input buffer (ai_float*)
  * @retval None
  */
void AI_fill_input_buffer(SensorData *data, ai_float* in_data)
{
    uint8_t i = 0;

    // Scale and populate input data
    in_data[i++] = scale(data->temperature, MIN_TEMPERATURE, MAX_TEMPERATURE);
    in_data[i++] = scale(data->humidity, MIN_HUMIDITY, MAX_HUMIDITY);
    in_data[i++] = scale(data->co2_concentration, MIN_CO2_CONCENTRATION, MAX_CO2_CONCENTRATION);
    in_data[i++] = scale(data->average_co2_last_hour, MIN_AVERAGE_CO2_LAST_HOUR, MAX_AVERAGE_CO2_LAST_HOUR);
    in_data[i++] = scale(data->average_temperature_last_hour, MIN_AVERAGE_TEMPERATURE_LAST_HOUR, MAX_AVERAGE_TEMPERATURE_LAST_HOUR);
    in_data[i++] = scale(data->average_humidity_last_hour, MIN_AVERAGE_HUMIDITY_LAST_HOUR, MAX_AVERAGE_HUMIDITY_LAST_HOUR);
    in_data[i++] = scale(data->current_value_minus_average_last_hour_co2, MIN_CURRENT_VALUE_MINUS_AVERAGE_LAST_HOUR_CO2, MAX_CURRENT_VALUE_MINUS_AVERAGE_LAST_HOUR_CO2);
    in_data[i++] = scale(data->current_value_minus_average_last_hour_temperature, MIN_CURRENT_VALUE_MINUS_AVERAGE_LAST_HOUR_TEMPERATURE, MAX_CURRENT_VALUE_MINUS_AVERAGE_LAST_HOUR_TEMPERATURE);
    in_data[i++] = scale(data->current_value_minus_average_last_hour_humidity, MIN_CURRENT_VALUE_MINUS_AVERAGE_LAST_HOUR_HUMIDITY, MAX_CURRENT_VALUE_MINUS_AVERAGE_LAST_HOUR_HUMIDITY);
    in_data[i++] = scale(data->current_value_minus_last_15_min_co2, MIN_CURRENT_VALUE_MINUS_LAST_15_MIN_CO2, MAX_CURRENT_VALUE_MINUS_LAST_15_MIN_CO2);
    in_data[i++] = scale(data->current_value_minus_last_15_min_temperature, MIN_CURRENT_VALUE_MINUS_LAST_15_MIN_TEMPERATURE, MAX_CURRENT_VALUE_MINUS_LAST_15_MIN_TEMPERATURE);
    in_data[i++] = scale(data->current_value_minus_last_15_min_humidity, MIN_CURRENT_VALUE_MINUS_LAST_15_MIN_HUMIDITY, MAX_CURRENT_VALUE_MINUS_LAST_15_MIN_HUMIDITY);
#ifdef ACCELERATION_FEATURES
    in_data[i++] = scale(data->acceleration_co2, MIN_ACCELERATION_CO2, MAX_ACCELERATION_CO2);
    in_data[i++] = scale(data->acceleration_temperature, MIN_ACCELERATION_TEMPERATURE, MAX_ACCELERATION_TEMPERATURE);
    in_data[i++] = scale(data->acceleration_humidity, MIN_ACCELERATION_HUMIDITY, MAX_ACCELERATION_HUMIDITY);
#endif
    in_data[i++] = scale(data->room_number, MIN_ROOM_NUMBER, MAX_ROOM_NUMBER);

#ifdef TIME_FEATURES
    // Include time-related features if enabled
	in_data[i++] = scale(data->hour_of_the_day, MIN_HOUR_OF_THE_DAY, MAX_HOUR_OF_THE_DAY);
	in_data[i++] = scale(data->day_number_of_the_week, MIN_DAY_NUMBER_OF_THE_WEEK, MAX_DAY_NUMBER_OF_THE_WEEK);
	in_data[i++] = scale(data->day_of_year, MIN_DAY_OF_YEAR, MAX_DAY_OF_YEAR);
#endif
	// Scale floor area
	in_data[i++] = scale(data->floor_area, MIN_FLOOR_AREA, MAX_FLOOR_AREA);

}

/**
  * @brief Fills the input buffer with scaled FAKE data used for testing
  * @param data Pointer to SensorData structure
  * @param in_data Pointer to the input buffer (ai_float*)
  * @retval None
  */
void AI_FAKE_fill_input_buffer(SensorData *data, ai_float* in_data)
{
	//
	uint8_t i = 0;
	in_data[i++] = scale(26.1, MIN_TEMPERATURE, MAX_TEMPERATURE);
	in_data[i++] = scale(57.0 , MIN_HUMIDITY, MAX_HUMIDITY);
	in_data[i++] = scale(838.0, MIN_CO2_CONCENTRATION, MAX_CO2_CONCENTRATION);
	in_data[i++] = scale(874.38, MIN_AVERAGE_CO2_LAST_HOUR, MAX_AVERAGE_CO2_LAST_HOUR);
	in_data[i++] = scale(26.21, MIN_AVERAGE_TEMPERATURE_LAST_HOUR, MAX_AVERAGE_TEMPERATURE_LAST_HOUR);
	in_data[i++] = scale(57.82, MIN_AVERAGE_HUMIDITY_LAST_HOUR, MAX_AVERAGE_HUMIDITY_LAST_HOUR);
	in_data[i++] = scale(-24.88, MIN_CURRENT_VALUE_MINUS_AVERAGE_LAST_HOUR_CO2, MAX_CURRENT_VALUE_MINUS_AVERAGE_LAST_HOUR_CO2);
	in_data[i++] = scale(-0.10, MIN_CURRENT_VALUE_MINUS_AVERAGE_LAST_HOUR_TEMPERATURE, MAX_CURRENT_VALUE_MINUS_AVERAGE_LAST_HOUR_TEMPERATURE);
	in_data[i++] = scale(-0.40, MIN_CURRENT_VALUE_MINUS_AVERAGE_LAST_HOUR_HUMIDITY, MAX_CURRENT_VALUE_MINUS_AVERAGE_LAST_HOUR_HUMIDITY);
	in_data[i++] = scale(-11.48 , MIN_CURRENT_VALUE_MINUS_LAST_15_MIN_CO2, MAX_CURRENT_VALUE_MINUS_LAST_15_MIN_CO2);
	in_data[i++] = scale(-0.02, MIN_CURRENT_VALUE_MINUS_LAST_15_MIN_TEMPERATURE, MAX_CURRENT_VALUE_MINUS_LAST_15_MIN_TEMPERATURE);
	in_data[i++] = scale(-0.02, MIN_CURRENT_VALUE_MINUS_LAST_15_MIN_HUMIDITY, MAX_CURRENT_VALUE_MINUS_LAST_15_MIN_HUMIDITY);
#ifdef ACCELERATION_FEATURES
    in_data[i++] = scale(0, MIN_ACCELERATION_CO2, MAX_ACCELERATION_CO2);
    in_data[i++] = scale(0, MIN_ACCELERATION_TEMPERATURE, MAX_ACCELERATION_TEMPERATURE);
    in_data[i++] = scale(0, MIN_ACCELERATION_HUMIDITY, MAX_ACCELERATION_HUMIDITY);
#endif
	in_data[i++] = scale(0 , MIN_ROOM_NUMBER, MAX_ROOM_NUMBER);
#ifdef TIME_FEATURES
	in_data[i++] = scale(18, MIN_HOUR_OF_THE_DAY, MAX_HOUR_OF_THE_DAY);
	in_data[i++] = scale(3, MIN_DAY_NUMBER_OF_THE_WEEK, MAX_DAY_NUMBER_OF_THE_WEEK);
	in_data[i++] = scale(204, MIN_DAY_OF_YEAR, MAX_DAY_OF_YEAR);
#endif
	in_data[i++] = scale(10, MIN_FLOOR_AREA, MAX_FLOOR_AREA);
}

/* USER CODE END 4 */

void Error_Handler(void)
{
  /* USER CODE BEGIN Error_Handler_Debug */
  /* User can add his own implementation to report the HAL error return state */
  //__disable_irq();
  while (1)
  {
	  HAL_GPIO_TogglePin(GPIOJ, GPIO_PIN_2);
	  HAL_Delay(1000);
  }
  /* USER CODE END Error_Handler_Debug */
}
